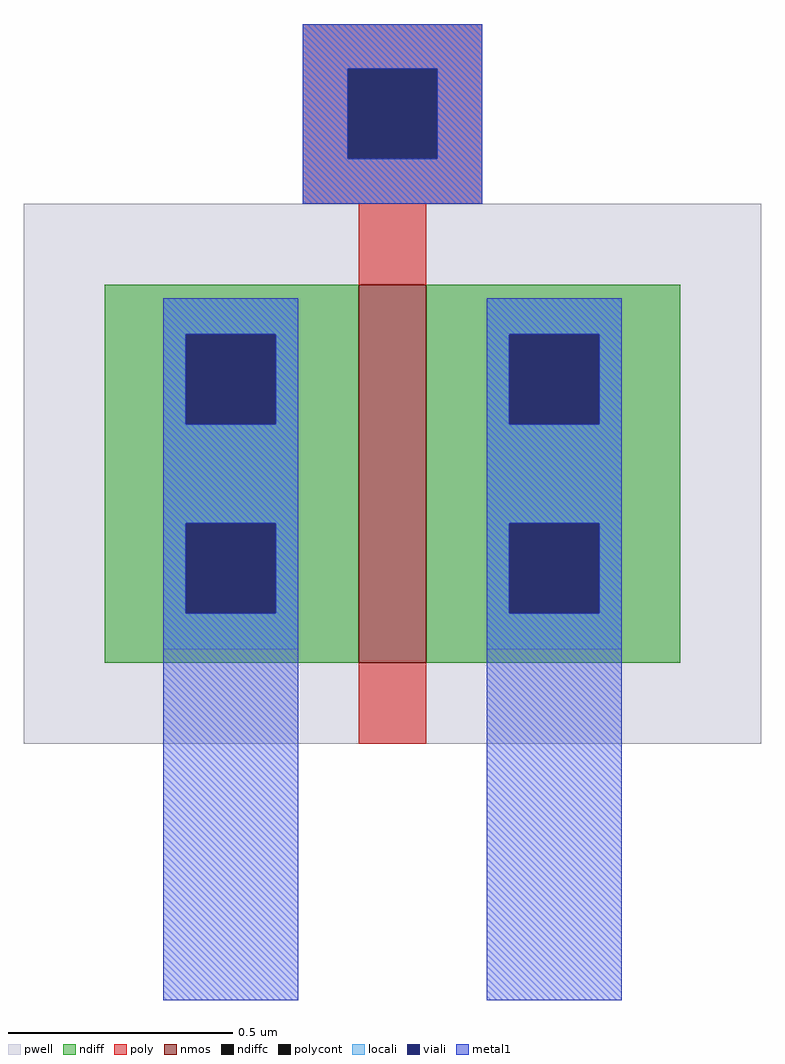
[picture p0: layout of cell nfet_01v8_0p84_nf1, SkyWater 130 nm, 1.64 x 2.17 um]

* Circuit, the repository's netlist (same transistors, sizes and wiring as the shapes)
* NGSPICE file created from nfet_01v8_0p84_nf1.ext - technology: sky130A

.subckt nfet_01v8_0p84_nf1
X0 a_143_0# a_88_204# a_0_0# VSUBS sky130_fd_pr__nfet_01v8 ad=0.475 pd=2.81 as=0.475 ps=2.81 w=0.84 l=0.15
.ends

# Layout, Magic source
magic
tech sky130A
magscale 1 2
<< pwell >>
rect -36 -36 292 204
<< nmos >>
rect 113 0 143 168
<< ndiff >>
rect 0 146 113 168
rect 0 106 36 146
rect 76 106 113 146
rect 0 62 113 106
rect 0 22 36 62
rect 76 22 113 62
rect 0 0 113 22
rect 143 146 256 168
rect 143 106 180 146
rect 220 106 256 146
rect 143 62 256 106
rect 143 22 180 62
rect 220 22 256 62
rect 143 0 256 22
<< ndiffc >>
rect 36 106 76 146
rect 36 22 76 62
rect 180 106 220 146
rect 180 22 220 62
<< poly >>
rect 88 264 168 284
rect 88 224 108 264
rect 148 224 168 264
rect 88 204 168 224
rect 113 168 143 204
rect 113 -36 143 0
<< polycont >>
rect 108 224 148 264
<< locali >>
rect 88 264 168 284
rect 88 224 108 264
rect 148 224 168 264
rect 88 204 168 224
rect 26 146 86 162
rect 26 106 36 146
rect 76 106 86 146
rect 26 62 86 106
rect 26 22 36 62
rect 76 22 86 62
rect 26 6 86 22
rect 170 146 230 162
rect 170 106 180 146
rect 220 106 230 146
rect 170 62 230 106
rect 170 22 180 62
rect 220 22 230 62
rect 170 6 230 22
<< viali >>
rect 108 224 148 264
rect 36 106 76 146
rect 36 22 76 62
rect 180 106 220 146
rect 180 22 220 62
<< metal1 >>
rect 88 264 168 284
rect 88 224 108 264
rect 148 224 168 264
rect 88 204 168 224
rect 26 146 86 162
rect 26 106 36 146
rect 76 106 86 146
rect 26 62 86 106
rect 26 22 36 62
rect 76 22 86 62
rect 26 -150 86 22
rect 170 146 230 162
rect 170 106 180 146
rect 220 106 230 146
rect 170 62 230 106
rect 170 22 180 62
rect 220 22 230 62
rect 170 -150 230 22
<< end >>
